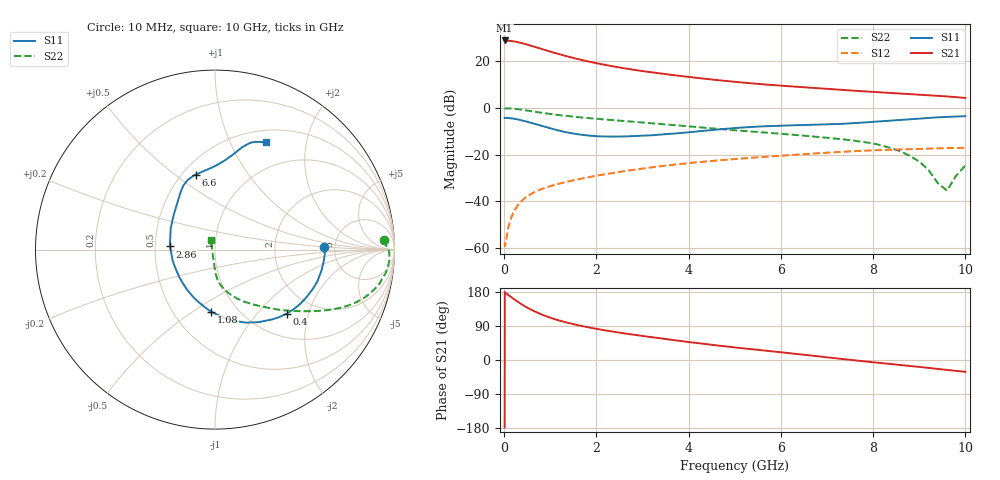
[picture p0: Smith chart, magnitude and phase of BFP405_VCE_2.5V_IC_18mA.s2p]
! Infineon Technologies  Discrete & RF Semiconductors
! BFP405
! VCE =  2.5 V,  IC =  18 mA
! Common Emitter S-Parameters:  Jan 2016
# GHz  S  MA  R  50
!  f  S11  S21  S12  S22
! GHz  MAG  ANG  MAG  ANG  MAG  ANG  MAG  ANG
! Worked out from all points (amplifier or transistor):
!   233 points, 10 MHz to 10 GHz, reference 50 ohm
!   highest |S21| = 28.8 dB at 10 MHz (marker M1)
!   |S21| within 3 dB of that: start of sweep to 706.7 MHz
!   unconditionally stable (mu >= 1): start of sweep to 16.76 MHz; 1.937 GHz to end of sweep
!   at 200 MHz: K = 0.22, MSG = 36.7 dB, |S12| = -44.9 dB
!   at 1.74 GHz: K = 0.95, MSG = 25.1 dB, |S12| = -30.0 dB
!   at 10 GHz: K = 1.37, MAG = 7.0 dB, |S12| = -17.1 dB
!   S11 on the Smith chart (normalised r, x): 10 MHz: 4.12, +0.20; 400 MHz: 1.46, -1.46; 1.08 GHz: 0.76, -0.60; 2.86 GHz: 0.60, +0.02; 6.6 GHz: 0.58, +0.60; 10 GHz: 0.64, +1.38
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0.01  0.6102 1.4  27.59 -178.2  0.0013 69.1  0.9404 3.1
0.02  0.6129 -1.9  27.47 177.4  0.0011 87.1  0.9613 0.6
0.05  0.6101 -5.7  27.18 175.4  0.0016 84.5  0.9715 -1.0
0.1  0.605 -10.8  27.18 170.5  0.003 84.8  0.9738 -3.5
0.2  0.5887 -21.5  26.43 161.7  0.0057 81.7  0.9599 -7.9
0.3  0.5642 -32.1  25.38 153.2  0.0083 77.8  0.9374 -11.6
0.4  0.5355 -41.7  24.04 145.2  0.0106 74.2  0.9066 -14.8
0.5  0.5033 -50.6  22.58 138.1  0.0128 71.2  0.876 -17.7
0.7  0.4421 -67.0  19.63 125.9  0.0165 67.4  0.8151 -22.1
0.9  0.3877 -81.4  17.07 115.8  0.0196 64.9  0.7616 -25.4
1.08  0.3464 -93.3  15.11 108.3  0.0223 63.5  0.7212 -27.7
1.32  0.3043 -108.2  12.96 99.9  0.0257 62.3  0.6757 -30.3
1.68  0.2657 -129.1  10.56 89.7  0.0307 60.9  0.6212 -33.5
2.2  0.2435 -156.4  8.229 78.0  0.0382 59.0  0.5614 -37.5
2.86  0.25 175.9  6.404 65.8  0.0481 55.6  0.4987 -42.4
3.4  0.2681 157.4  5.407 57.0  0.0565 52.2  0.4502 -46.6
5.1  0.3759 120.4  3.521 31.9  0.0818 39.5  0.3256 -61.7
6.6  0.4315 104.3  2.709 12.5  0.1038 27.8  0.2489 -73.5
6.8  0.4362 101.2  2.623 9.9  0.1067 26.0  0.2388 -75.0
8.4  0.5368 79.5  2.062 -10.8  0.1273 11.1  0.1368 -88.0
9.6  0.6402 69.7  1.753 -26.1  0.1374 0.8  0.017 166.9
10  0.6627 64.6  1.627 -31.2  0.1401 -2.2  0.0588 115.0
